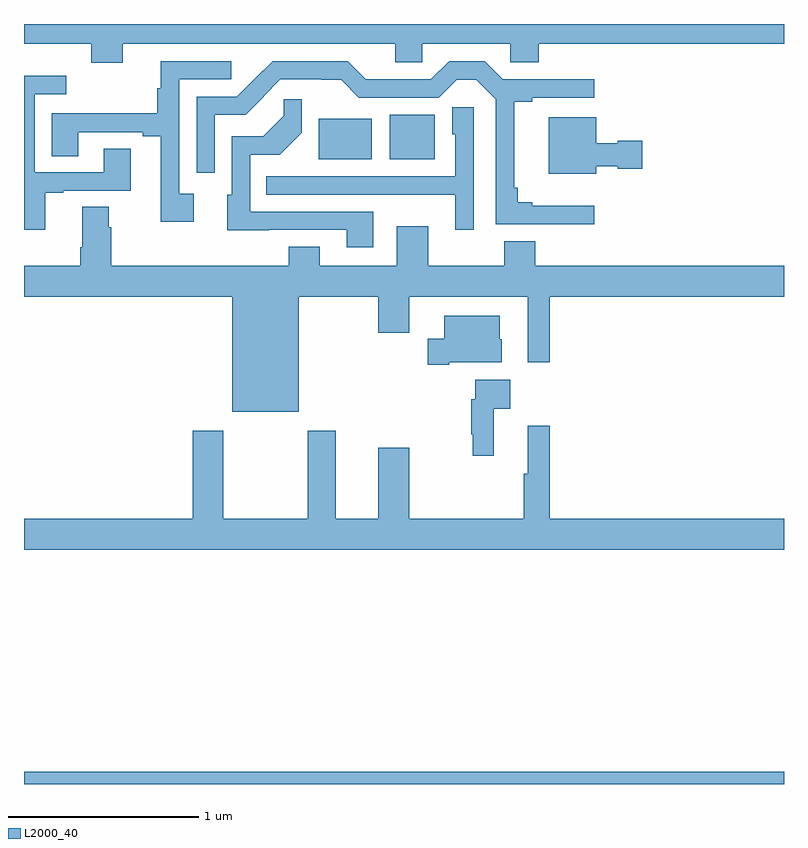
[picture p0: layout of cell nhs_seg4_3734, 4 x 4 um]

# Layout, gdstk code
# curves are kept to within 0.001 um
import gdstk
lib = gdstk.Library(unit=1e-6, precision=1e-09)
def R(c, l, rs):  # rectangles x0, y0, x1, y1
    for r in rs: c.add(gdstk.rectangle(r[:2], r[2:], *l))
def P(c, l, *ps):  # polygons
    for p in ps: c.add(gdstk.Polygon(p, *l))
L2000_40 = (2000, 40)

nhs_seg4_3734 = lib.new_cell('nhs_seg4_3734')
R(nhs_seg4_3734, L2000_40, [(307,816.9,311,816.964), (308.552,820.187,308.83,820.402), (308.924,820.187,309.163,820.423)])
P(nhs_seg4_3734, L2000_40, [(307.519,820.796),(308.954,820.796),(308.954,820.698),(309.096,820.698),(309.096,820.796),(309.558,820.796),(309.558,820.698),(309.71,820.698),(309.71,820.796),(311,820.796),(311,820.9),(307,820.9),(307,820.796),(307.355,820.796),(307.355,820.697),(307.519,820.697)],
  [(307.894,820.006),(307.818,820.006),(307.818,820.608),(308.091,820.608),(308.091,820.704),(307.721,820.704),(307.721,820.562),(307.702,820.562),(307.702,820.43),(307.145,820.43),(307.145,820.204),(307.285,820.204),(307.285,820.329),(307.625,820.329),(307.625,820.309),(307.721,820.309),(307.721,819.858),(307.894,819.858)],
  [(310,819.943),(309.676,819.943),(309.676,819.962),(309.599,819.962),(309.599,820.039),(309.581,820.039),(309.581,820.492),(309.676,820.492),(309.676,820.512),(310,820.512),(310,820.61),(309.753,820.61),(309.753,820.608),(309.52,820.608),(309.424,820.704),(309.237,820.704),(309.141,820.608),(308.902,820.608),(308.902,820.61),(308.798,820.61),(308.703,820.704),(308.309,820.704),(308.121,820.518),(307.908,820.518),(307.908,820.116),(308.004,820.116),(308.004,820.422),(308.167,820.422),(308.261,820.516),(308.259,820.518),(308.349,820.608),(308.669,820.607),(308.763,820.512),(309.183,820.512),(309.278,820.607),(309.379,820.607),(309.483,820.503),(309.483,819.846),(310,819.845)],
  [(307.111,820.011),(307.207,820.011),(307.207,820.023),(307.561,820.023),(307.561,820.244),(307.421,820.244),(307.421,820.119),(307.056,820.119),(307.056,820.53),(307.222,820.53),(307.222,820.627),(307,820.627),(307,819.816),(307.111,819.816)],
  [(308.839,819.912),(308.19,819.912),(308.19,820.212),(308.347,820.212),(308.463,820.328),(308.463,820.504),(308.368,820.504),(308.368,820.416),(308.26,820.308),(308.094,820.308),(308.094,820.002),(308.069,820.002),(308.069,819.815),(308.699,819.816),(308.699,819.726),(308.839,819.726)],
  [(309.366,820.463),(309.254,820.463),(309.254,820.32),(309.27,820.32),(309.27,820.098),(308.275,820.098),(308.275,820.002),(308.935,820.002),(308.935,820.001),(309.269,820.001),(309.269,819.816),(309.366,819.816)],
  [(310.012,820.151),(310.125,820.151),(310.125,820.139),(310.255,820.139),(310.255,820.286),(310.125,820.286),(310.125,820.273),(310.012,820.273),(310.012,820.408),(309.761,820.408),(309.761,820.112),(310.012,820.112)],
  [(307.46,819.83),(307.447,819.83),(307.447,819.938),(307.307,819.938),(307.307,819.724),(307.295,819.724),(307.295,819.628),(307,819.628),(307,819.464),(308.096,819.464),(308.096,818.858),(308.446,818.858),(308.446,819.464),(308.864,819.464),(308.864,819.276),(309.028,819.276),(309.028,819.464),(309.65,819.464),(309.65,819.12),(309.767,819.12),(309.767,819.464),(311,819.464),(311,819.628),(309.691,819.628),(309.691,819.757),(309.527,819.757),(309.527,819.628),(309.127,819.628),(309.127,819.835),(308.963,819.835),(308.963,819.628),(308.557,819.628),(308.557,819.727),(308.393,819.727),(308.393,819.628),(307.46,819.628)],
  [(309.238,819.119),(309.514,819.119),(309.514,819.24),(309.505,819.24),(309.505,819.364),(309.212,819.364),(309.212,819.244),(309.126,819.244),(309.126,819.107),(309.238,819.107)],
  [(309.473,818.876),(309.559,818.876),(309.559,819.028),(309.375,819.028),(309.375,818.924),(309.355,818.924),(309.355,818.74),(309.363,818.74),(309.363,818.628),(309.473,818.628)],
  [(311,818.296),(309.767,818.296),(309.767,818.785),(309.65,818.785),(309.65,818.532),(309.631,818.532),(309.631,818.296),(309.028,818.296),(309.028,818.671),(308.864,818.671),(308.864,818.296),(308.641,818.296),(308.641,818.758),(308.494,818.758),(308.494,818.296),(308.049,818.296),(308.049,818.758),(307.889,818.758),(307.889,818.296),(307,818.296),(307,818.132),(311,818.132)])

lib.write_gds('nhs_seg4_3734.gds')
